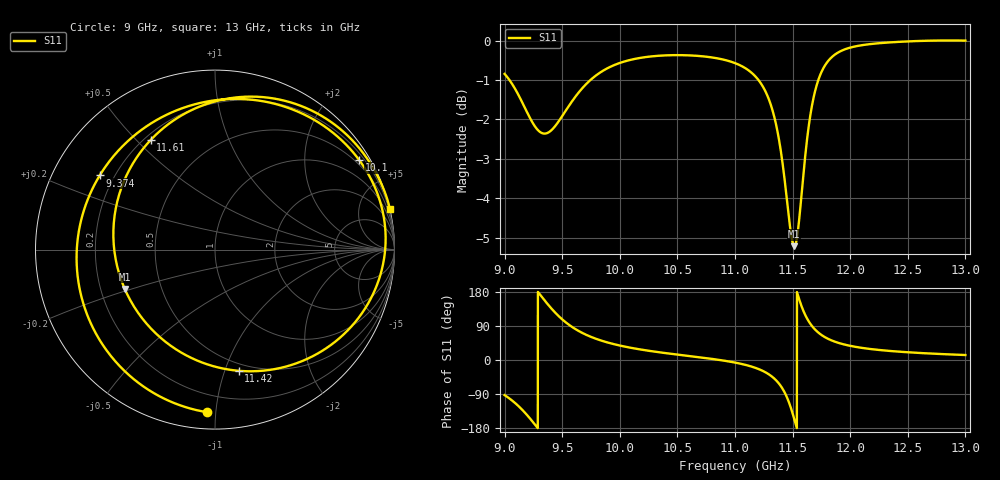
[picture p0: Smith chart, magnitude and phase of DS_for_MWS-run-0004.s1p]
! TOUCHSTONE file generated by CST DESIGN STUDIO
! Date and time: Tue Feb  4 16:42:35 2025
! Project name: C:\Work\MatlabApps\UnitCellOptimizationMatlab\CST\unitcell.cst
! Tree item: Tasks\Sweep1\SPara1\S-Parameters
! Header version: 2024
! Port assignment regex: !\s*Touchstone port\s*([0-9]+)\s*=\s*(CST MWS port|CST DES external port|CST DES block port)\s*(.+)\s* \(\"(.*)\"\)(\s*mode\s*([0-9]+))?.*
! Touchstone port assignment:
! Touchstone port 1 = CST DES external port 1 ("")
# GHz S MA R 50
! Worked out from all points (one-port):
!   4001 points, 9 GHz to 13 GHz, reference 50 ohm
!   lowest |S11| = -5.2 dB at 11.52 GHz (marker M1), VSWR 3.43, Z = 15.2 - j9.52 ohm
!   |S11| at or under -10 dB: nowhere
!   S11 on the Smith chart (normalised r, x): 9 GHz: 0.09, -0.95; 9.374 GHz: 0.15, +0.29; 10.1 GHz: 0.37, +3.46; 11.42 GHz: 0.44, -1.12; 11.61 GHz: 0.22, +0.55; 13 GHz: 0.01, +8.69
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9  0.9071 -92.7
9.116  0.8553 -120.4
9.227  0.7941 -156.7
9.299  0.7673 175.8
9.374  0.7637 147.3
9.436  0.778 126.0
9.5  0.802 107.2
9.598  0.8423 84.7
9.729  0.8867 63.7
10  0.9366 38.2
10.1  0.9456 32.0
10.5  0.9582 14.3
11  0.9362 -6.8
11.158  0.9063 -18.7
11.267  0.8603 -32.9
11.349  0.7913 -51.2
11.419  0.6879 -79.0
11.461  0.6089 -105.9
11.5  0.5543 -140.9
11.515  0.5485 -156.4
11.558  0.5945 159.4
11.607  0.7078 120.5
11.673  0.8339 87.9
11.772  0.9251 61.8
11.87  0.9604 48.0
12  0.9795 37.4
12.5  0.9974 20.4
13  0.9997 13.1
